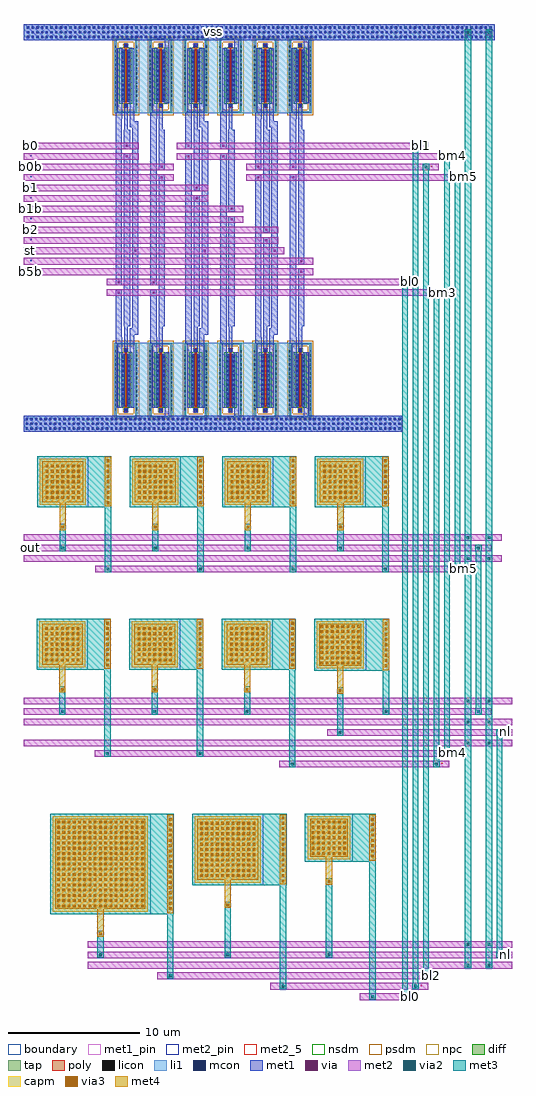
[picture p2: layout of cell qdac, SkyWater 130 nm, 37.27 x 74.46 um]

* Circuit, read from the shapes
.subckt qdac b0 b0b b1 b1b b2 b2b b3 b3b b4 b4b b5 b5b bl0 bl1 bl2 bm3 bm4 bm5 nl out st vss
XM1 st b3 bm3 vss sky130_fd_pr__nfet_01v8 w=4 l=0.15
XM2 st b0 bl0 vss sky130_fd_pr__nfet_01v8 w=4 l=0.15
XM3 vss b3b bm3 vss sky130_fd_pr__nfet_01v8 w=4 l=0.15
XM4 vss b0b bl0 vss sky130_fd_pr__nfet_01v8 w=4 l=0.15
XM5 st b4 bm4 vss sky130_fd_pr__nfet_01v8 w=4 l=0.15
XM6 st b1 bl1 vss sky130_fd_pr__nfet_01v8 w=4 l=0.15
XM7 vss b4b bm4 vss sky130_fd_pr__nfet_01v8 w=4 l=0.15
XM8 vss b1b bl1 vss sky130_fd_pr__nfet_01v8 w=4 l=0.15
XM9 st b5 bm5 vss sky130_fd_pr__nfet_01v8 w=4 l=0.15
XM10 st b2 bl2 vss sky130_fd_pr__nfet_01v8 w=4 l=0.15
XM11 vss b5b bm5 vss sky130_fd_pr__nfet_01v8 w=4 l=0.15
XM12 vss b2b bl2 vss sky130_fd_pr__nfet_01v8 w=4 l=0.15
XC13 out bm4 sky130_fd_pr__cap_mim_m3_1 w=3.49 l=3.49 m=2
XC14 out bm5 sky130_fd_pr__cap_mim_m3_1 w=3.5 l=3.5 m=4
XC15 nl bl2 sky130_fd_pr__cap_mim_m3_1 w=7.26 l=7.26
XC16 nl bl1 sky130_fd_pr__cap_mim_m3_1 w=5.05 l=5.05
XC17 out bm3 sky130_fd_pr__cap_mim_m3_1 w=3.49 l=3.49
XC18 nl bl0 sky130_fd_pr__cap_mim_m3_1 w=3.26 l=3.26
XC19 nl out sky130_fd_pr__cap_mim_m3_1 w=3.58 l=3.58
.ends

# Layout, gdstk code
import gdstk
lib = gdstk.Library(unit=1e-6, precision=1e-09)
def R(c, l, rs):  # rectangles x0, y0, x1, y1
    for r in rs: c.add(gdstk.rectangle(r[:2], r[2:], *l))
def A(c, l, x, y, w, h, nx, ny, dx, dy):  # array of equal rectangles
    R(c, l, [(x+i*dx, y+j*dy, x+i*dx+w, y+j*dy+h) for i in range(nx) for j in range(ny)])
diff = (65, 20)
tap = (65, 44)
poly = (66, 20)
licon = (66, 44)
li1 = (67, 20)
mcon = (67, 44)
met1_pin = (68, 16)
met1 = (68, 20)
via = (68, 44)
met2_5 = (69, 5)
met2_pin = (69, 16)
met2 = (69, 20)
via2 = (69, 44)
met3 = (70, 20)
via3 = (70, 44)
met4 = (71, 20)
capm = (89, 44)
nsdm = (93, 44)
psdm = (94, 20)
npc = (95, 20)
boundary = (235, 4)

sky130_fd_pr__cap_mim_m3 = lib.new_cell('sky130_fd_pr__cap_mim_m3_1_3RBCBW')
R(sky130_fd_pr__cap_mim_m3, met3, [(-4.71,-3.83,4.71,3.83)])
A(sky130_fd_pr__cap_mim_m3, via3, 4.35, -3.5, 0.2, 0.2, 1, 18, 0, 0.4)
A(sky130_fd_pr__cap_mim_m3, via3, -4.18, -3.3, 0.2, 0.2, 17, 17, 0.4, 0.4)
R(sky130_fd_pr__cap_mim_m3, met4, [(4.21,-3.77,4.69,3.77), (-4.315,-3.435,2.555,3.435)])
R(sky130_fd_pr__cap_mim_m3, capm, [(-4.51,-3.63,2.75,3.63)])
R(sky130_fd_pr__cap_mim_m3, boundary, [(-4.71,-3.83,2.95,3.83)])
sky130_fd_pr__cap_mim_m3.add(gdstk.Label('C2', (4.45,0), layer=71, texttype=5))
sky130_fd_pr__cap_mim_m3.add(gdstk.Label('C1', (-0.88,0), layer=71, texttype=5))

c_sky130_fd_pr__cap_mim_m3 = lib.new_cell('sky130_fd_pr__cap_mim_m3_1_ASBP9W')
R(c_sky130_fd_pr__cap_mim_m3, met3, [(-3.605,-2.725,3.605,2.725)])
A(c_sky130_fd_pr__cap_mim_m3, via3, 3.245, -2.5, 0.2, 0.2, 1, 13, 0, 0.4)
A(c_sky130_fd_pr__cap_mim_m3, via3, -2.98, -2.1, 0.2, 0.2, 11, 11, 0.4, 0.4)
R(c_sky130_fd_pr__cap_mim_m3, met4, [(3.105,-2.665,3.585,2.665), (-3.21,-2.33,1.45,2.33)])
R(c_sky130_fd_pr__cap_mim_m3, capm, [(-3.405,-2.525,1.645,2.525)])
R(c_sky130_fd_pr__cap_mim_m3, boundary, [(-3.605,-2.725,1.845,2.725)])
c_sky130_fd_pr__cap_mim_m3.add(gdstk.Label('C2', (3.345,0), layer=71, texttype=5))
c_sky130_fd_pr__cap_mim_m3.add(gdstk.Label('C1', (-0.88,0), layer=71, texttype=5))

c_sky130_fd_pr__cap_mim_m3_ = lib.new_cell('sky130_fd_pr__cap_mim_m3_1_7RTFSU')
R(c_sky130_fd_pr__cap_mim_m3_, met3, [(-2.71,-1.83,2.71,1.83)])
A(c_sky130_fd_pr__cap_mim_m3_, via3, 2.35, -1.5, 0.2, 0.2, 1, 8, 0, 0.4)
A(c_sky130_fd_pr__cap_mim_m3_, via3, -2.18, -1.3, 0.2, 0.2, 7, 7, 0.4, 0.4)
R(c_sky130_fd_pr__cap_mim_m3_, met4, [(2.21,-1.77,2.69,1.77), (-2.315,-1.435,0.555,1.435)])
R(c_sky130_fd_pr__cap_mim_m3_, capm, [(-2.51,-1.63,0.75,1.63)])
R(c_sky130_fd_pr__cap_mim_m3_, boundary, [(-2.71,-1.83,0.95,1.83)])
c_sky130_fd_pr__cap_mim_m3_.add(gdstk.Label('C2', (2.45,0), layer=71, texttype=5))
c_sky130_fd_pr__cap_mim_m3_.add(gdstk.Label('C1', (-0.88,0), layer=71, texttype=5))

c_sky130_fd_pr__cap_mim_m3__ = lib.new_cell('sky130_fd_pr__cap_mim_m3_1_Q3Y394')
R(c_sky130_fd_pr__cap_mim_m3__, met3, [(-2.825,-1.945,2.825,1.945)])
A(c_sky130_fd_pr__cap_mim_m3__, via3, 2.465, -1.7, 0.2, 0.2, 1, 9, 0, 0.4)
A(c_sky130_fd_pr__cap_mim_m3__, via3, -2.18, -1.3, 0.2, 0.2, 7, 7, 0.4, 0.4)
R(c_sky130_fd_pr__cap_mim_m3__, met4, [(2.325,-1.885,2.805,1.885), (-2.43,-1.55,0.67,1.55)])
R(c_sky130_fd_pr__cap_mim_m3__, capm, [(-2.625,-1.745,0.865,1.745)])
R(c_sky130_fd_pr__cap_mim_m3__, boundary, [(-2.825,-1.945,1.065,1.945)])
c_sky130_fd_pr__cap_mim_m3__.add(gdstk.Label('C2', (2.565,0), layer=71, texttype=5))
c_sky130_fd_pr__cap_mim_m3__.add(gdstk.Label('C1', (-0.88,0), layer=71, texttype=5))

c_sky130_fd_pr__cap_mim_m3___ = lib.new_cell('sky130_fd_pr__cap_mim_m3_1_G6BG3D')
R(c_sky130_fd_pr__cap_mim_m3___, met3, [(-2.87,-1.99,2.87,1.99)])
A(c_sky130_fd_pr__cap_mim_m3___, via3, 2.51, -1.7, 0.2, 0.2, 1, 9, 0, 0.4)
A(c_sky130_fd_pr__cap_mim_m3___, via3, -2.38, -1.5, 0.2, 0.2, 8, 8, 0.4, 0.4)
R(c_sky130_fd_pr__cap_mim_m3___, met4, [(2.37,-1.93,2.85,1.93), (-2.475,-1.595,0.715,1.595)])
R(c_sky130_fd_pr__cap_mim_m3___, capm, [(-2.67,-1.79,0.91,1.79)])
R(c_sky130_fd_pr__cap_mim_m3___, boundary, [(-2.87,-1.99,1.11,1.99)])
c_sky130_fd_pr__cap_mim_m3___.add(gdstk.Label('C2', (2.61,0), layer=71, texttype=5))
c_sky130_fd_pr__cap_mim_m3___.add(gdstk.Label('C1', (-0.88,0), layer=71, texttype=5))

c_sky130_fd_pr__cap_mim_m3____ = lib.new_cell('sky130_fd_pr__cap_mim_m3_1_FS5HV8')
R(c_sky130_fd_pr__cap_mim_m3____, met3, [(-2.83,-1.95,2.83,1.95)])
A(c_sky130_fd_pr__cap_mim_m3____, via3, 2.47, -1.7, 0.2, 0.2, 1, 9, 0, 0.4)
A(c_sky130_fd_pr__cap_mim_m3____, via3, -2.18, -1.3, 0.2, 0.2, 7, 7, 0.4, 0.4)
R(c_sky130_fd_pr__cap_mim_m3____, met4, [(2.33,-1.89,2.81,1.89), (-2.435,-1.555,0.675,1.555)])
R(c_sky130_fd_pr__cap_mim_m3____, capm, [(-2.63,-1.75,0.87,1.75)])
R(c_sky130_fd_pr__cap_mim_m3____, boundary, [(-2.83,-1.95,1.07,1.95)])
c_sky130_fd_pr__cap_mim_m3____.add(gdstk.Label('C2', (2.57,0), layer=71, texttype=5))
c_sky130_fd_pr__cap_mim_m3____.add(gdstk.Label('C1', (-0.88,0), layer=71, texttype=5))

sky130_fd_pr__nfet_01v8_ = lib.new_cell('sky130_fd_pr__nfet_01v8_48RTN2')
R(sky130_fd_pr__nfet_01v8_, diff, [(-0.365,-2,0.365,2)])
R(sky130_fd_pr__nfet_01v8_, tap, [(-0.875,-2.87,0.875,-2.7), (-0.875,-2.7,-0.705,2.7), (0.705,-2.7,0.875,2.7), (-0.875,2.7,0.875,2.87)])
R(sky130_fd_pr__nfet_01v8_, poly, [(-0.165,-2.44,0.165,-2.11), (-0.075,-2.11,0.075,2.11), (-0.165,2.11,0.165,2.44)])
A(sky130_fd_pr__nfet_01v8_, licon, -0.875, -2.295, 0.17, 0.17, 1, 14, 0, 0.34)
A(sky130_fd_pr__nfet_01v8_, licon, 0.705, -2.295, 0.17, 0.17, 1, 14, 0, 0.34)
A(sky130_fd_pr__nfet_01v8_, licon, -0.305, -1.785, 0.17, 0.17, 1, 11, 0, 0.34)
A(sky130_fd_pr__nfet_01v8_, licon, 0.135, -1.785, 0.17, 0.17, 1, 11, 0, 0.34)
R(sky130_fd_pr__nfet_01v8_, licon, [(-0.255,-2.87,-0.085,-2.7), (0.085,-2.87,0.255,-2.7), (-0.085,-2.36,0.085,-2.19), (-0.085,2.19,0.085,2.36), (-0.255,2.7,-0.085,2.87), (0.085,2.7,0.255,2.87)])
R(sky130_fd_pr__nfet_01v8_, li1, [(-0.875,-2.87,0.875,-2.7), (-0.875,-2.7,-0.705,2.7), (0.705,-2.7,0.875,2.7), (-0.165,-2.36,0.165,-2.19), (-0.305,-2.02,-0.135,2.02), (0.135,-2.02,0.305,2.02), (-0.165,2.19,0.165,2.36), (-0.875,2.7,0.875,2.87)])
A(sky130_fd_pr__nfet_01v8_, mcon, -0.305, -1.885, 0.17, 0.17, 1, 11, 0, 0.36)
A(sky130_fd_pr__nfet_01v8_, mcon, 0.135, -1.885, 0.17, 0.17, 1, 11, 0, 0.36)
R(sky130_fd_pr__nfet_01v8_, mcon, [(-0.085,-2.36,0.085,-2.19), (-0.085,2.19,0.085,2.36)])
R(sky130_fd_pr__nfet_01v8_, met1, [(-0.145,-2.39,0.145,-2.16), (-0.335,-2,-0.105,2), (0.105,-2,0.335,2), (-0.145,2.16,0.145,2.39)])
R(sky130_fd_pr__nfet_01v8_, nsdm, [(-0.49,-2.125,0.49,2.125)])
R(sky130_fd_pr__nfet_01v8_, psdm, [(-1,-2.995,1,-2.575), (-1,-2.575,-0.58,2.575), (0.58,-2.575,1,2.575), (-1,2.575,1,2.995)])
R(sky130_fd_pr__nfet_01v8_, npc, [(-0.185,-2.46,0.185,-2.09), (-0.185,2.09,0.185,2.46)])
R(sky130_fd_pr__nfet_01v8_, boundary, [(-0.79,-2.785,0.79,2.785)])
sky130_fd_pr__nfet_01v8_.add(gdstk.Label('B', (0,-2.785), layer=67, texttype=5))
sky130_fd_pr__nfet_01v8_.add(gdstk.Label('D', (-0.22,0), layer=67, texttype=5))
sky130_fd_pr__nfet_01v8_.add(gdstk.Label('S', (0.22,0), layer=67, texttype=5))
sky130_fd_pr__nfet_01v8_.add(gdstk.Label('G', (0,2.275), layer=67, texttype=5))

qdac = lib.new_cell('qdac')
A(qdac, li1, 7.67, -29.87, 0.91, 5.57, 5, 2, 2.66, 23.05)
R(qdac, li1, [(-1,-31.12,27.89,-29.87), (-1,-1.25,34.93,0)])
A(qdac, mcon, -0.86, -30.94, 0.17, 0.17, 80, 3, 0.36, 0.36)
A(qdac, mcon, -0.76, -1.07, 0.17, 0.17, 99, 3, 0.36, 0.36)
R(qdac, met1_pin, [(13.445,-0.625,13.545,-0.525)])
A(qdac, met1, 9.74, -29.87, 0.36, 4.81, 3, 2, 5.32, 23.81)
A(qdac, met1, 6.65, -29.655, 0.29, 0.295, 6, 2, 2.66, 27.895)
A(qdac, met1, 6.15, -29.28, 0.36, 4.92, 6, 2, 2.66, 22.52)
A(qdac, met1, 7.08, -29.28, 0.36, 5.57, 3, 2, 5.32, 21.87)
A(qdac, met1, 6.65, -25.03, 0.29, 1.97, 6, 2, 2.66, 16.97)
A(qdac, met1, 6.01, -24.36, 0.5, 0.48, 6, 2, 2.66, 17.12)
A(qdac, met1, 7.08, -23.71, 0.66, 0.48, 3, 2, 5.32, 15.82)
A(qdac, met1, 7.26, -23.23, 0.48, 15.34, 3, 1, 5.32, 0)
R(qdac, met1, [(-1,-31.12,27.89,-29.87), (6.01,-23.88,6.49,-20.26), (8.67,-23.88,9.15,-20.26), (11.33,-23.88,11.81,-9.86), (13.99,-23.88,14.47,-9.86), (16.65,-23.88,17.13,-11.46), (19.31,-23.88,19.79,-11.46), (6.635,-23.06,7.115,-9.86), (9.295,-23.06,9.775,-11.46), (11.955,-23.06,12.435,-13.06), (14.615,-23.06,15.095,-14.66), (17.275,-23.06,17.755,-16.26), (19.935,-23.06,20.415,-18.66), (6.01,-19.94,6.49,-7.24), (8.67,-19.94,9.15,-7.24), (19.935,-18.34,20.415,-8.06), (17.275,-15.94,17.755,-8.06), (14.615,-14.34,15.095,-8.06), (11.955,-12.74,12.435,-8.06), (9.295,-11.14,9.775,-8.06), (16.65,-11.14,17.13,-7.24), (19.31,-11.14,19.79,-7.24), (6.635,-9.54,7.115,-8.06), (11.33,-9.54,11.81,-7.24), (13.99,-9.54,14.47,-7.24), (-1,-1.25,34.93,0)])
A(qdac, via, 7.425, -17.375, 0.15, 0.15, 3, 1, 5.32, 0)
R(qdac, via, [(6.175,-20.575,6.325,-20.425), (8.835,-20.575,8.985,-20.425), (6.175,-19.775,6.325,-19.625), (8.835,-19.775,8.985,-19.625), (20.1,-18.975,20.25,-18.825), (20.1,-18.175,20.25,-18.025), (17.44,-16.575,17.59,-16.425), (17.44,-15.775,17.59,-15.625), (14.78,-14.975,14.93,-14.825), (14.78,-14.175,14.93,-14.025), (12.12,-13.375,12.27,-13.225), (12.12,-12.575,12.27,-12.425), (9.46,-11.775,9.61,-11.625), (16.815,-11.775,16.965,-11.625), (19.475,-11.775,19.625,-11.625), (9.46,-10.975,9.61,-10.825), (16.815,-10.975,16.965,-10.825), (19.475,-10.975,19.625,-10.825), (6.8,-10.175,6.95,-10.025), (11.495,-10.175,11.645,-10.025), (14.155,-10.175,14.305,-10.025), (6.8,-9.375,6.95,-9.225), (11.495,-9.375,11.645,-9.225), (14.155,-9.375,14.305,-9.225), (32.815,-0.7,32.965,-0.55), (34.415,-0.7,34.565,-0.55)])
R(qdac, met2_5, [(28.47,-74.21,28.57,-74.11), (29.27,-73.41,29.37,-73.31), (30.07,-72.61,30.17,-72.51), (35.67,-71.01,35.77,-70.91), (30.87,-56.45,30.97,-56.35), (31.67,-55.65,31.77,-55.55), (35.67,-54.05,35.77,-53.95), (32.47,-41.57,32.57,-41.47), (30.87,-20.5,30.97,-20.4), (28.47,-19.7,28.57,-19.6), (32.47,-11.7,32.57,-11.6), (30.07,-10.9,30.17,-10.8), (31.67,-10.1,31.77,-10), (29.27,-9.3,29.37,-9.2)])
A(qdac, met2_pin, -0.5, -18.9, 0.1, 0.1, 1, 13, 0, 0.8)
R(qdac, met2_pin, [(-0.5,-39.97,-0.4,-39.87)])
A(qdac, met2, 3.87, -72.06, 32.4, 0.5, 1, 3, 0, 0.8)
A(qdac, met2, -1, -55.1, 37.27, 0.5, 1, 3, 0, 1.6)
R(qdac, met2, [(24.63,-74.46,29.07,-73.96), (17.81,-73.66,29.87,-73.16), (9.2,-72.86,30.67,-72.36), (18.51,-56.7,31.47,-56.2), (4.41,-55.9,32.27,-55.4), (22.16,-54.3,36.27,-53.8), (-1,-52.7,34.67,-52.2), (4.445,-41.82,33.07,-41.32), (-1,-41.02,35.47,-40.52), (-1,-40.22,34.67,-39.72), (-1,-39.42,35.47,-38.92), (5.35,-20.75,31.47,-20.25), (5.35,-19.95,29.07,-19.45), (-1,-19.15,21.075,-18.65), (-1,-18.35,21.075,-17.85), (-1,-17.55,18.88,-17.05), (-1,-16.75,18.415,-16.25), (-1,-15.95,18.415,-15.45), (-1,-15.15,15.755,-14.65), (-1,-14.35,15.755,-13.85), (-1,-13.55,13.095,-13.05), (-1,-12.75,13.095,-12.25), (-1,-11.95,10.435,-11.45), (15.99,-11.95,33.07,-11.45), (-1,-11.15,10.435,-10.65), (15.99,-11.15,30.67,-10.65), (-1,-10.35,7.775,-9.85), (10.67,-10.35,32.27,-9.85), (-1,-9.55,7.775,-9.05), (10.67,-9.55,29.87,-9.05), (32.65,-0.865,33.13,-0.385), (34.25,-0.865,34.73,-0.385)])
A(qdac, via2, 32.79, -54.95, 0.2, 0.2, 1, 3, 0, 1.6)
A(qdac, via2, 34.39, -54.95, 0.2, 0.2, 1, 3, 0, 1.6)
A(qdac, via2, 1.845, -52.55, 0.2, 0.2, 3, 1, 7.05, 0)
A(qdac, via2, 5.325, -41.67, 0.2, 0.2, 4, 1, 7.06, 0)
A(qdac, via2, 1.875, -40.07, 0.2, 0.2, 4, 1, 7.06, 0)
R(qdac, via2, [(25.51,-74.31,25.71,-74.11), (27.99,-74.31,28.19,-74.11), (18.69,-73.51,18.89,-73.31), (28.79,-73.51,28.99,-73.31), (10.08,-72.71,10.28,-72.51), (29.59,-72.71,29.79,-72.51), (32.79,-71.91,32.99,-71.71), (34.39,-71.91,34.59,-71.71), (4.75,-71.11,4.95,-70.91), (14.465,-71.11,14.665,-70.91), (22.18,-71.11,22.38,-70.91), (35.19,-71.11,35.39,-70.91), (32.79,-70.31,32.99,-70.11), (34.39,-70.31,34.59,-70.11), (19.39,-56.55,19.59,-56.35), (30.39,-56.55,30.59,-56.35), (5.29,-55.75,5.49,-55.55), (12.34,-55.75,12.54,-55.55), (31.19,-55.75,31.39,-55.55), (23.04,-54.15,23.24,-53.95), (35.19,-54.15,35.39,-53.95), (26.53,-52.55,26.73,-52.35), (33.59,-52.55,33.79,-52.35), (31.99,-41.67,32.19,-41.47), (32.79,-40.87,32.99,-40.67), (34.39,-40.87,34.59,-40.67), (33.59,-40.07,33.79,-39.87), (32.79,-39.27,32.99,-39.07), (34.39,-39.27,34.59,-39.07), (30.39,-20.6,30.59,-20.4), (27.99,-19.8,28.19,-19.6), (31.99,-11.8,32.19,-11.6), (29.59,-11,29.79,-10.8), (31.19,-10.2,31.39,-10), (28.79,-9.4,28.99,-9.2), (32.79,-0.725,32.99,-0.525), (34.39,-0.725,34.59,-0.525)])
A(qdac, met3, 1.705, -52.69, 0.48, 2.17, 3, 1, 7.05, 0)
A(qdac, met3, 5.185, -41.81, 0.48, 5.42, 4, 1, 7.06, 0)
A(qdac, met3, 1.735, -40.21, 0.48, 2.08, 4, 1, 7.06, 0)
R(qdac, met3, [(25.37,-74.45,25.85,-63.43), (27.85,-74.45,28.33,-73.97), (27.89,-73.97,28.29,-19.94), (18.55,-73.65,19.03,-65.22), (28.65,-73.65,29.13,-73.17), (28.69,-73.17,29.09,-9.54), (9.94,-72.85,10.42,-67.43), (29.45,-72.85,29.93,-72.37), (29.49,-72.37,29.89,-11.14), (32.65,-72.05,33.13,-0.385), (34.25,-72.05,34.73,-0.385), (4.61,-71.25,5.09,-69.17), (14.325,-71.25,14.805,-66.96), (22.04,-71.25,22.52,-65.17), (35.05,-71.25,35.53,-70.77), (35.09,-70.77,35.49,-54.29), (19.25,-56.69,19.73,-48.78), (30.25,-56.69,30.73,-56.21), (30.29,-56.21,30.69,-20.74), (5.15,-55.89,5.63,-48.78), (12.2,-55.89,12.68,-48.78), (31.05,-55.89,31.53,-55.41), (31.09,-55.41,31.49,-10.34), (22.9,-54.29,23.38,-50.61), (35.05,-54.29,35.53,-53.81), (26.39,-52.69,26.87,-48.87), (33.45,-52.69,33.93,-52.21), (33.49,-52.21,33.89,-40.21), (31.85,-41.81,32.33,-41.33), (31.89,-41.33,32.29,-11.94), (33.45,-40.21,33.93,-39.73), (30.25,-20.74,30.73,-20.26), (27.85,-19.94,28.33,-19.46), (31.85,-11.94,32.33,-11.46), (29.45,-11.14,29.93,-10.66), (31.05,-10.34,31.53,-9.86), (28.65,-9.54,29.13,-9.06)])
A(qdac, via3, 1.845, -50.86, 0.2, 0.2, 3, 1, 7.05, 0)
A(qdac, via3, 1.875, -38.47, 0.2, 0.2, 4, 1, 7.06, 0)
R(qdac, via3, [(4.75,-69.51,4.95,-69.31), (14.465,-67.3,14.665,-67.1), (22.18,-65.51,22.38,-65.31), (23.04,-50.95,23.24,-50.75)])
A(qdac, met4, 1.705, -51, 0.48, 3.925, 3, 1, 7.05, 0)
A(qdac, met4, 1.735, -38.61, 0.48, 3.93, 4, 1, 7.06, 0)
R(qdac, met4, [(4.61,-69.65,5.09,-63.84), (14.325,-67.44,14.805,-62.735), (22.04,-65.65,22.52,-61.84), (22.9,-51.09,23.38,-47.12)])
qdac.add(gdstk.Reference(sky130_fd_pr__cap_mim_m3, (5.73,-64.08)))
qdac.add(gdstk.Reference(c_sky130_fd_pr__cap_mim_m3, (15.445,-62.975)))
qdac.add(gdstk.Reference(c_sky130_fd_pr__cap_mim_m3_, (23.16,-62.08)))
qdac.add(gdstk.Reference(c_sky130_fd_pr__cap_mim_m3__, (2.825,-47.315)))
qdac.add(gdstk.Reference(c_sky130_fd_pr__cap_mim_m3__, (9.875,-47.315)))
qdac.add(gdstk.Reference(c_sky130_fd_pr__cap_mim_m3__, (16.925,-47.315)))
qdac.add(gdstk.Reference(c_sky130_fd_pr__cap_mim_m3___, (24.02,-47.36)))
qdac.add(gdstk.Reference(c_sky130_fd_pr__cap_mim_m3____, (2.855,-34.92)))
qdac.add(gdstk.Reference(c_sky130_fd_pr__cap_mim_m3____, (9.915,-34.92)))
qdac.add(gdstk.Reference(sky130_fd_pr__nfet_01v8_, (9.455,-27.17)))
qdac.add(gdstk.Reference(sky130_fd_pr__nfet_01v8_, (6.795,-27.17)))
qdac.add(gdstk.Reference(c_sky130_fd_pr__cap_mim_m3____, (16.975,-34.92)))
qdac.add(gdstk.Reference(sky130_fd_pr__nfet_01v8_, (17.435,-27.17)))
qdac.add(gdstk.Reference(sky130_fd_pr__nfet_01v8_, (14.775,-27.17)))
qdac.add(gdstk.Reference(sky130_fd_pr__nfet_01v8_, (12.115,-27.17)))
qdac.add(gdstk.Reference(c_sky130_fd_pr__cap_mim_m3____, (24.035,-34.92)))
qdac.add(gdstk.Reference(sky130_fd_pr__nfet_01v8_, (20.095,-27.17)))
qdac.add(gdstk.Reference(sky130_fd_pr__nfet_01v8_, (9.455,-3.95)))
qdac.add(gdstk.Reference(sky130_fd_pr__nfet_01v8_, (6.795,-3.95)))
qdac.add(gdstk.Reference(sky130_fd_pr__nfet_01v8_, (17.435,-3.95)))
qdac.add(gdstk.Reference(sky130_fd_pr__nfet_01v8_, (14.775,-3.95)))
qdac.add(gdstk.Reference(sky130_fd_pr__nfet_01v8_, (12.115,-3.95)))
qdac.add(gdstk.Reference(sky130_fd_pr__nfet_01v8_, (20.095,-3.95)))
qdac.add(gdstk.Label('bl1', (29.32,-9.25), layer=69, texttype=5))
qdac.add(gdstk.Label('bm4', (31.72,-10.05), layer=69, texttype=5))
qdac.add(gdstk.Label('bl2', (30.12,-10.85), layer=69, texttype=5))
qdac.add(gdstk.Label('bm5', (32.52,-11.65), layer=69, texttype=5))
qdac.add(gdstk.Label('bl0', (28.52,-19.65), layer=69, texttype=5))
qdac.add(gdstk.Label('bm3', (30.92,-20.45), layer=69, texttype=5))
qdac.add(gdstk.Label('bm5', (32.52,-41.52), layer=69, texttype=5))
qdac.add(gdstk.Label('nl', (35.72,-54), layer=69, texttype=5))
qdac.add(gdstk.Label('bm4', (31.72,-55.6), layer=69, texttype=5))
qdac.add(gdstk.Label('bm3', (30.92,-56.4), layer=69, texttype=5))
qdac.add(gdstk.Label('nl', (35.72,-70.96), layer=69, texttype=5))
qdac.add(gdstk.Label('bl2', (30.12,-72.56), layer=69, texttype=5))
qdac.add(gdstk.Label('bl1', (29.32,-73.36), layer=69, texttype=5))
qdac.add(gdstk.Label('bl0', (28.52,-74.16), layer=69, texttype=5))
qdac.add(gdstk.Label('out', (-0.45,-39.92), layer=69, texttype=5))
qdac.add(gdstk.Label('st', (-0.45,-17.25), layer=69, texttype=5))
qdac.add(gdstk.Label('b0', (-0.45,-9.25), layer=69, texttype=5))
qdac.add(gdstk.Label('b1', (-0.45,-12.45), layer=69, texttype=5))
qdac.add(gdstk.Label('b2', (-0.45,-15.65), layer=69, texttype=5))
qdac.add(gdstk.Label('b3', (-0.45,-10.05), layer=69, texttype=5))
qdac.add(gdstk.Label('b4', (-0.45,-13.25), layer=69, texttype=5))
qdac.add(gdstk.Label('b5', (-0.45,-16.45), layer=69, texttype=5))
qdac.add(gdstk.Label('vss', (13.495,-0.575), layer=68, texttype=5))
qdac.add(gdstk.Label('b0b', (-0.45,-10.85), layer=69, texttype=5))
qdac.add(gdstk.Label('b1b', (-0.45,-14.05), layer=69, texttype=5))
qdac.add(gdstk.Label('b2b', (-0.45,-18.05), layer=69, texttype=5))
qdac.add(gdstk.Label('b3b', (-0.45,-11.65), layer=69, texttype=5))
qdac.add(gdstk.Label('b4b', (-0.45,-14.85), layer=69, texttype=5))
qdac.add(gdstk.Label('b5b', (-0.45,-18.85), layer=69, texttype=5))

lib.write_gds('qdac.gds')
